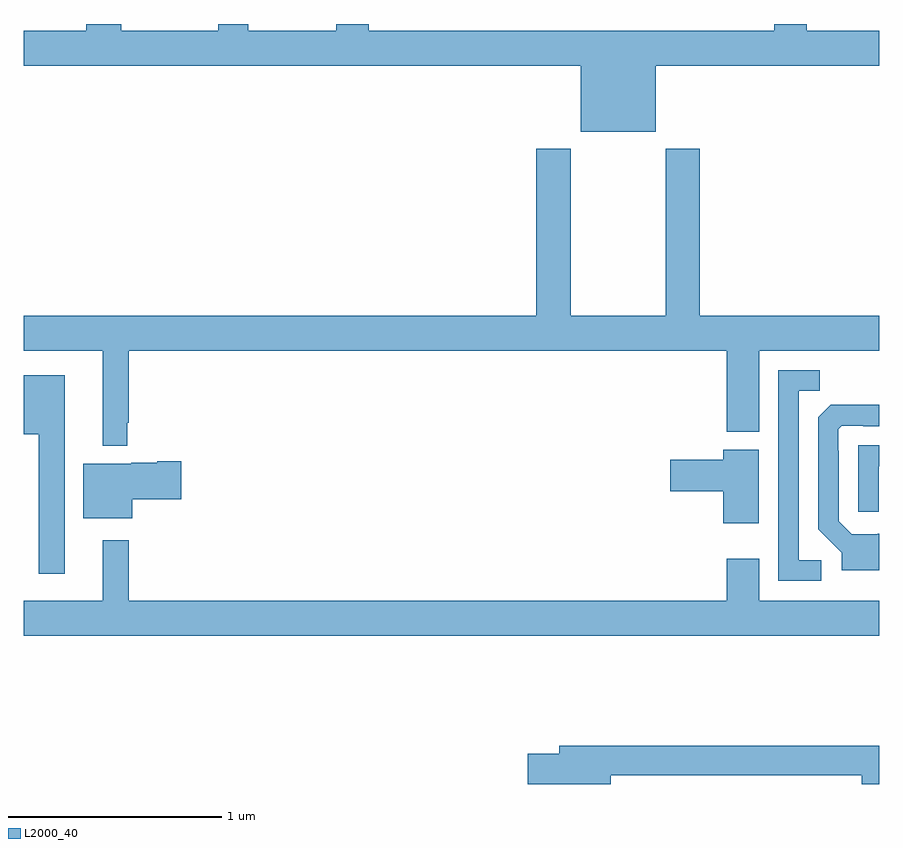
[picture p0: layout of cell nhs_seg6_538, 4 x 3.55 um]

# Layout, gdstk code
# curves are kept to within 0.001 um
import gdstk
lib = gdstk.Library(unit=1e-6, precision=1e-09)
def P(c, l, *ps):  # polygons
    for p in ps: c.add(gdstk.Polygon(p, *l))
L2000_40 = (2000, 40)

nhs_seg6_538 = lib.new_cell('nhs_seg6_538')
P(nhs_seg6_538, L2000_40, [(145.954,979.304),(147,979.304),(147,979.468),(146.662,979.468),(146.662,979.5),(146.51,979.5),(146.51,979.468),(144.614,979.468),(144.614,979.5),(144.461,979.5),(144.461,979.468),(144.049,979.468),(144.049,979.5),(143.909,979.5),(143.909,979.468),(143.455,979.468),(143.455,979.5),(143.291,979.5),(143.291,979.468),(143,979.468),(143,979.304),(145.604,979.304),(145.604,978.995),(145.954,978.995)],
  [(143.483,977.635),(143.491,977.635),(143.491,977.972),(146.288,977.972),(146.288,977.594),(146.44,977.594),(146.44,977.972),(147,977.972),(147,978.136),(146.162,978.136),(146.162,978.916),(146.002,978.916),(146.002,978.136),(145.557,978.136),(145.557,978.916),(145.397,978.916),(145.397,978.136),(143,978.136),(143,977.972),(143.369,977.972),(143.369,977.528),(143.483,977.528)],
  [(146.728,976.992),(146.625,976.992),(146.625,977.785),(146.721,977.785),(146.721,977.88),(146.529,977.88),(146.529,976.896),(146.728,976.896)],
  [(143.191,977.857),(143,977.857),(143,977.582),(143.07,977.582),(143.07,976.929),(143.191,976.929)],
  [(147,977.116),(146.871,977.115),(146.811,977.175),(146.811,977.504),(146.808,977.504),(146.808,977.604),(146.826,977.622),(146.926,977.622),(146.926,977.619),(147,977.619),(147,977.72),(146.774,977.719),(146.715,977.66),(146.715,977.138),(146.825,977.028),(146.825,976.946),(147,976.946)],
  [(146.997,977.433),(147,977.433),(147,977.529),(146.901,977.529),(146.901,977.22),(146.997,977.22)],
  [(146.437,977.509),(146.27,977.509),(146.27,977.462),(146.022,977.462),(146.022,977.315),(146.27,977.315),(146.27,977.166),(146.437,977.166)],
  [(143.506,977.278),(143.737,977.278),(143.737,977.456),(143.624,977.456),(143.624,977.449),(143.502,977.449),(143.502,977.443),(143.279,977.443),(143.279,977.189),(143.506,977.189)],
  [(146.288,976.999),(146.288,976.804),(143.491,976.804),(143.491,977.086),(143.369,977.086),(143.369,976.804),(143,976.804),(143,976.64),(147,976.64),(147,976.804),(146.44,976.804),(146.44,976.999)],
  [(145.744,975.988),(146.918,975.988),(146.918,975.946),(147,975.946),(147,976.124),(145.505,976.124),(145.505,976.088),(145.356,976.088),(145.356,975.946),(145.744,975.946)])

lib.write_gds('nhs_seg6_538.gds')
